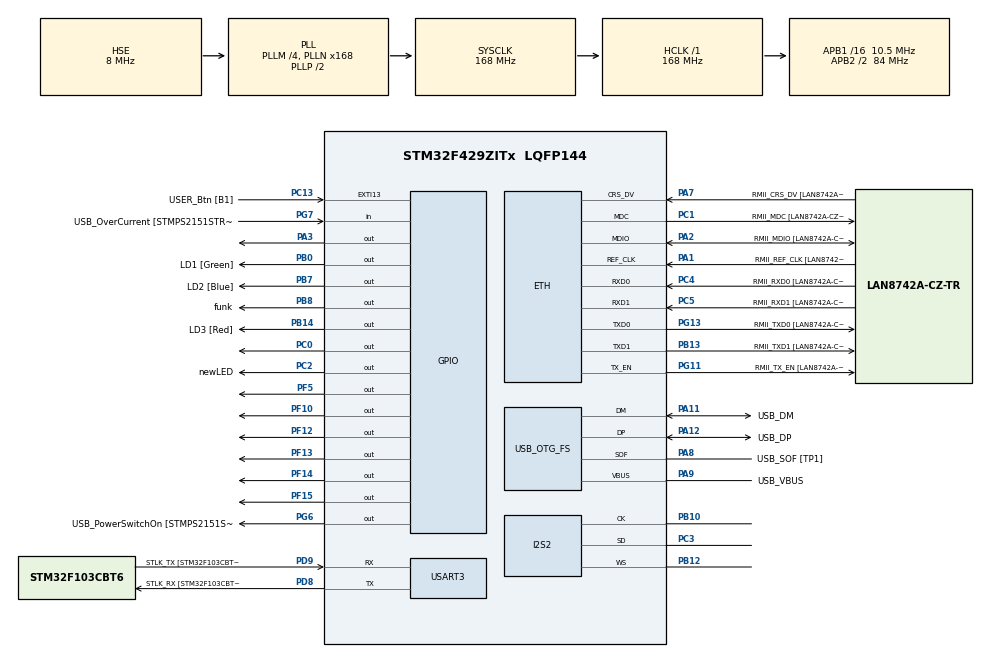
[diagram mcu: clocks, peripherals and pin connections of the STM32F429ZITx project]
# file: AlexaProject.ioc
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Dma.Request0=SPI2_RX
Dma.SPI2_RX.0.Direction=DMA_PERIPH_TO_MEMORY
Dma.SPI2_RX.0.FIFOMode=DMA_FIFOMODE_DISABLE
Dma.SPI2_RX.0.Instance=DMA1_Stream3
Dma.SPI2_RX.0.MemDataAlignment=DMA_MDATAALIGN_HALFWORD
Dma.SPI2_RX.0.MemInc=DMA_MINC_ENABLE
Dma.SPI2_RX.0.Mode=DMA_CIRCULAR
Dma.SPI2_RX.0.PeriphDataAlignment=DMA_PDATAALIGN_HALFWORD
Dma.SPI2_RX.0.PeriphInc=DMA_PINC_DISABLE
Dma.SPI2_RX.0.Priority=DMA_PRIORITY_HIGH
ETH.MediaInterface=HAL_ETH_RMII_MODE
ETH.PHY_Name=LAN8742A_PHY_ADDRESS
ETH.PHY_Value=0
ETH.PhyAddress=0
I2S2.AudioFreq=I2S_AUDIOFREQ_16K
I2S2.DataFormat=I2S_DATAFORMAT_24B
I2S2.ErrorAudioFreq=-0.26 %
I2S2.FullDuplexMode=I2S_FULLDUPLEXMODE_DISABLE
I2S2.Instance=SPI$Index
I2S2.Mode=I2S_MODE_MASTER_RX
I2S2.RealAudioFreq=15.957 KHz
I2S2.VirtualMode=I2S_MODE_MASTER
Mcu.Family=STM32F4
Mcu.Name=STM32F429ZITx
Mcu.Package=LQFP144
NVIC.DMA1_Stream3_IRQn=true\:0\:0\:false\:false\:true\:false\:true\:true
NVIC.PriorityGroup=NVIC_PRIORITYGROUP_4
PA1.GPIO_Label=RMII_REF_CLK [LAN8742A-CZ-TR_REFCLK0]
PA1.Mode=RMII
PA1.Signal=ETH_REF_CLK
PA10.GPIO_Label=USB_ID
PA10.Signal=USB_OTG_FS_ID
PA11.GPIO_Label=USB_DM
PA11.Mode=Device_Only
PA11.Signal=USB_OTG_FS_DM
PA12.GPIO_Label=USB_DP
PA12.Mode=Device_Only
PA12.Signal=USB_OTG_FS_DP
PA13.GPIO_Label=TMS
PA13.Mode=Serial_Wire
PA13.Signal=SYS_JTMS-SWDIO
PA14.GPIO_Label=TCK
PA14.Mode=Serial_Wire
PA14.Signal=SYS_JTCK-SWCLK
PA2.GPIO_Label=RMII_MDIO [LAN8742A-CZ-TR_MDIO]
PA2.Mode=RMII
PA2.Signal=ETH_MDIO
PA3.Signal=GPIO_Output
PA7.GPIO_Label=RMII_CRS_DV [LAN8742A-CZ-TR_CRS_DV]
PA7.Mode=RMII
PA7.Signal=ETH_CRS_DV
PA8.GPIO_Label=USB_SOF [TP1]
PA8.Mode=Activate_SOF_FS
PA8.Signal=USB_OTG_FS_SOF
PA9.GPIO_Label=USB_VBUS
PA9.Mode=Activate_VBUS
PA9.Signal=USB_OTG_FS_VBUS
PB0.GPIO_Label=LD1 [Green]
PB0.Signal=GPIO_Output
PB10.Mode=Half_Duplex_Master
PB10.Signal=I2S2_CK
PB12.Mode=Half_Duplex_Master
PB12.Signal=I2S2_WS
PB13.GPIO_Label=RMII_TXD1 [LAN8742A-CZ-TR_TXD1]
PB13.Mode=RMII
PB13.Signal=ETH_TXD1
PB14.GPIO_Label=LD3 [Red]
PB14.Signal=GPIO_Output
PB7.GPIO_Label=LD2 [Blue]
PB7.Signal=GPIO_Output
PB8.GPIO_Label=funk
PB8.Signal=GPIO_Output
PC0.Signal=GPIO_Output
PC1.GPIO_Label=RMII_MDC [LAN8742A-CZ-TR_MDC]
PC1.Mode=RMII
PC1.Signal=ETH_MDC
PC13.GPIO_Label=USER_Btn [B1]
PC13.Signal=GPXTI13
PC14/OSC32_IN.Mode=LSE-External-Oscillator
PC14/OSC32_IN.Signal=RCC_OSC32_IN
PC15/OSC32_OUT.Mode=LSE-External-Oscillator
PC15/OSC32_OUT.Signal=RCC_OSC32_OUT
PC2.GPIO_Label=newLED
PC2.Signal=GPIO_Output
PC3.Mode=Half_Duplex_Master
PC3.Signal=I2S2_SD
PC4.GPIO_Label=RMII_RXD0 [LAN8742A-CZ-TR_RXD0]
PC4.Mode=RMII
PC4.Signal=ETH_RXD0
PC5.GPIO_Label=RMII_RXD1 [LAN8742A-CZ-TR_RXD1]
PC5.Mode=RMII
PC5.Signal=ETH_RXD1
PD8.GPIO_Label=STLK_RX [STM32F103CBT6_PA3]
PD8.Mode=Asynchronous
PD8.Signal=USART3_TX
PD9.GPIO_Label=STLK_TX [STM32F103CBT6_PA2]
PD9.Mode=Asynchronous
PD9.Signal=USART3_RX
PF10.Signal=GPIO_Output
PF12.Signal=GPIO_Output
PF13.Signal=GPIO_Output
PF14.Signal=GPIO_Output
PF15.Signal=GPIO_Output
PF5.Signal=GPIO_Output
PG11.GPIO_Label=RMII_TX_EN [LAN8742A-CZ-TR_TXEN]
PG11.Mode=RMII
PG11.Signal=ETH_TX_EN
PG13.GPIO_Label=RMII_TXD0 [LAN8742A-CZ-TR_TXD0]
PG13.Mode=RMII
PG13.Signal=ETH_TXD0
PG6.GPIO_Label=USB_PowerSwitchOn [STMPS2151STR_EN]
PG6.Signal=GPIO_Output
PG7.GPIO_Label=USB_OverCurrent [STMPS2151STR_FAULT]
PG7.Signal=GPIO_Input
PH0/OSC_IN.GPIO_Label=MCO [STM32F103CBT6_PA8]
PH0/OSC_IN.Mode=HSE-External-Clock-Source
PH0/OSC_IN.Signal=RCC_OSC_IN
PH1/OSC_OUT.Mode=HSE-External-Clock-Source
PH1/OSC_OUT.Signal=RCC_OSC_OUT
ProjectManager.HeapSize=0x800
ProjectManager.StackSize=0x800
ProjectManager.TargetToolchain=STM32CubeIDE
RCC.48MHZClocksFreq_Value=48000000
RCC.AHBFreq_Value=168000000
RCC.APB1CLKDivider=RCC_HCLK_DIV16
RCC.APB1Freq_Value=10500000
RCC.APB1TimFreq_Value=21000000
RCC.APB2CLKDivider=RCC_HCLK_DIV2
RCC.APB2Freq_Value=84000000
RCC.APB2TimCLKDivider=2
RCC.APB2TimFreq_Value=168000000
RCC.CortexFreq_Value=168000000
RCC.HCLKFreq_Value=168000000
RCC.HSE_VALUE=8000000
RCC.HSI_VALUE=16000000
RCC.PLLM=4
RCC.PLLMUL=RCC_PLL_MUL9
RCC.PLLN=168
RCC.PLLQ=7
RCC.PRESCALERUSB=RCC_USBCLKSOURCE_PLL_DIV1_5
RCC.SYSCLKFreq_VALUE=168000000
RCC.SYSCLKSource=RCC_SYSCLKSOURCE_PLLCLK
RCC.SYSCLKSourceVirtual=RCC_SYSCLKSOURCE_PLLCLK
RCC.USBFreq_Value=48000000
RCC.VCOOutputFreq_Value=336000000
STMicroelectronics.X-CUBE-AI.7.2.0.ActivationBufferSizeList=24748
STMicroelectronics.X-CUBE-AI.7.2.0.ActivationBuffers=pool0
STMicroelectronics.X-CUBE-AI.7.2.0.ActivationNames=pool0
STMicroelectronics.X-CUBE-AI.7.2.0.ActivationSizes=AI_NETWORK_DATA_ACTIVATION_1_SIZE
STMicroelectronics.X-CUBE-AI.7.2.0.HeapSize=0x800
STMicroelectronics.X-CUBE-AI.7.2.0.InternalRamActivationBufferMaxSize=AI_NETWORK_DATA_ACTIVATIONS_SIZE
STMicroelectronics.X-CUBE-AI.7.2.0.LatestDirectoryUsed-281b799384163966d8b97d2bb4d714199611b414a7336a01834ed85148bf27c6=C\:\\Users\\MARIAM\\Downloads
STMicroelectronics.X-CUBE-AI.7.2.0.MaximumNumberOfInputLayer=1
STMicroelectronics.X-CUBE-AI.7.2.0.MaximumNumberOfOutputLayer=1
STMicroelectronics.X-CUBE-AI.7.2.0.MaximumSizeOfInputLayer=1
STMicroelectronics.X-CUBE-AI.7.2.0.MaximumSizeOfOutputLayer=1
STMicroelectronics.X-CUBE-AI.7.2.0.ModelActualCompression-281b799384163966d8b97d2bb4d714199611b414a7336a01834ed85148bf27c6=0.0
STMicroelectronics.X-CUBE-AI.7.2.0.ModelCompression-281b799384163966d8b97d2bb4d714199611b414a7336a01834ed85148bf27c6=None
STMicroelectronics.X-CUBE-AI.7.2.0.ModelFlashOccupation-281b799384163966d8b97d2bb4d714199611b414a7336a01834ed85148bf27c6=40172
STMicroelectronics.X-CUBE-AI.7.2.0.ModelHashList=281b799384163966d8b97d2bb4d714199611b414a7336a01834ed85148bf27c6
STMicroelectronics.X-CUBE-AI.7.2.0.ModelKind-281b799384163966d8b97d2bb4d714199611b414a7336a01834ed85148bf27c6=TFLITE
STMicroelectronics.X-CUBE-AI.7.2.0.ModelMacc-281b799384163966d8b97d2bb4d714199611b414a7336a01834ed85148bf27c6=251990
STMicroelectronics.X-CUBE-AI.7.2.0.ModelName-281b799384163966d8b97d2bb4d714199611b414a7336a01834ed85148bf27c6=network
STMicroelectronics.X-CUBE-AI.7.2.0.ModelNameList=network
STMicroelectronics.X-CUBE-AI.7.2.0.ModelRamOccupation-281b799384163966d8b97d2bb4d714199611b414a7336a01834ed85148bf27c6=24748
STMicroelectronics.X-CUBE-AI.7.2.0.ModelStructureFile-281b799384163966d8b97d2bb4d714199611b414a7336a01834ed85148bf27c6=C\:\\Users\\MARIAM\\Downloads\\kws_model.tflite
STMicroelectronics.X-CUBE-AI.7.2.0.ModelType-281b799384163966d8b97d2bb4d714199611b414a7336a01834ed85148bf27c6=STM32Cube.AI runtime
STMicroelectronics.X-CUBE-AI.7.2.0.ReadyForCodeGeneration=true
STMicroelectronics.X-CUBE-AI.7.2.0.StackSize=0x800
STMicroelectronics.X-CUBE-AI.7.2.0.WorkingBufferStartAddrList=0xFFFFFFFF
STMicroelectronics.X-CUBE-AI.7.2.0.XAaCUBEAaAICcArtificialOoIntelligenceJjCore=true
TIM4.ClockDivision=TIM_CLOCKDIVISION_DIV1
TIM4.Period=800
TIM4.Prescaler=20
USART3.VirtualMode=VM_ASYNC
USB_OTG_FS.VirtualMode=Device_Only
VP_CRC_VS_CRC.Mode=CRC_Activate
VP_STMicroelectronics.X-CUBE-AI_VS_ArtificialOoIntelligenceJjXAaCUBEAaAI_7.2.0.Mode=ArtificialOoIntelligenceJjXAaCUBEAaAI
VP_TIM4_VS_ClockSourceINT.Mode=Internal
board=NUCLEO-F429ZI

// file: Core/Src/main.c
/* USER CODE BEGIN Header */
/**
  ******************************************************************************
  * @file           : main.c
  * @brief          : Main program body
  ******************************************************************************
  * @attention
  *
  * Copyright (c) 2025 STMicroelectronics.
  * All rights reserved.
  *
  * This software is licensed under terms that can be found in the LICENSE file
  * in the root directory of this software component.
  * If no LICENSE file comes with this software, it is provided AS-IS.
  *
  ******************************************************************************
  */
/* USER CODE END Header */
#include "main.h"
#include "string.h"

/* USER CODE BEGIN Includes */
#include <stdint.h>
#include <stdbool.h>
#include <stdio.h>
#include "funk.h"
#include "mikro.h"

/* USER CODE END Includes */

ETH_TxPacketConfig TxConfig;
ETH_DMADescTypeDef  DMARxDscrTab[ETH_RX_DESC_CNT]; /* Ethernet Rx DMA Descriptors */
ETH_DMADescTypeDef  DMATxDscrTab[ETH_TX_DESC_CNT]; /* Ethernet Tx DMA Descriptors */

CRC_HandleTypeDef hcrc;

ETH_HandleTypeDef heth;

I2S_HandleTypeDef hi2s2;
DMA_HandleTypeDef hdma_spi2_rx;

TIM_HandleTypeDef htim4;

UART_HandleTypeDef huart3;

PCD_HandleTypeDef hpcd_USB_OTG_FS;

/* USER CODE BEGIN PV */

// 1 second of audio at 16 kHz = 16000 final samples
//constexpr uint32_t PCM_SAMPLES_PER_SEC = 16000;
volatile bool recording_finished = false;
TIM_HandleTypeDef* TIMER = &htim4;
UART_HandleTypeDef* display =  &huart3;
I2S_HandleTypeDef* mikro = &hi2s2;

extern int timer;

// declare pins
typedef struct {
	GPIO_TypeDef* port;
	uint16_t pin;
	uint8_t state;
} Segment_t;

// assign segments to pins
Segment_t segments[10] = {
		{GPIOA, GPIO_PIN_3, 0}, //A0 - A
		{GPIOC, GPIO_PIN_0, 0}, //A1 - B
		{GPIOC, GPIO_PIN_2, 0}, //A2 - C -> A7
		{GPIOF, GPIO_PIN_3, 0}, //A3 - D
		{GPIOF, GPIO_PIN_5, 0}, //A4 - E
		{GPIOF, GPIO_PIN_10, 0}, //A5 - F
		{GPIOF, GPIO_PIN_15, 0}, //D2 - G
		{GPIOF, GPIO_PIN_14, 0}, //D4 - H
		{GPIOF, GPIO_PIN_13, 0}, //D7 - I
		{GPIOF, GPIO_PIN_12, 0}, //D8 - J
};

/* USER CODE END PV */

void SystemClock_Config(void);
static void MX_GPIO_Init(void);
static void MX_DMA_Init(void);
static void MX_ETH_Init(void);
static void MX_USART3_UART_Init(void);
static void MX_USB_OTG_FS_PCD_Init(void);
static void MX_TIM4_Init(void);
static void MX_I2S2_Init(void);
static void MX_CRC_Init(void);
/* USER CODE BEGIN PFP */

// declare light functions
//void gradualLightUp(void);
void gradualLightDown(void);
void gradualLightUp();
void turnOffAllSegments(void);

/* USER CODE END PFP */

int main(void)
{

  /* MCU Configuration--------------------------------------------------------*/

  /* Reset of all peripherals, Initializes the Flash interface and the Systick. */
  HAL_Init();

  /* Configure the system clock */
  SystemClock_Config();

  /* Initialize all configured peripherals */
  MX_GPIO_Init();
  MX_DMA_Init();
  MX_ETH_Init();
  MX_USART3_UART_Init();
  MX_USB_OTG_FS_PCD_Init();
  MX_TIM4_Init();
  MX_I2S2_Init();
  MX_CRC_Init();
  /* USER CODE BEGIN 2 */

   //printf("recording finished\r\n");
   //HAL_I2S_Receive_DMA(&hi2s2, (uint16_t*)inputBuffer, I2S_DMA_BUF_SIZE);
   HAL(&hi2s2);

    sendSequence("111111000010");

    HAL_GPIO_WritePin(GPIOB, GPIO_PIN_14, GPIO_PIN_SET); // LED2 dauerhaft an
    HAL_Delay(5000);

    sendSequence("111111000001");
    HAL_GPIO_WritePin(GPIOB, GPIO_PIN_14, GPIO_PIN_RESET); // LED2 dauerhaft aus

    recording_finished = true;
    volatile bool stecker_an = false;
  /* USER CODE END 2 */

  /* Infinite loop */
  /* USER CODE BEGIN WHILE */
  while (1)
  {

	  if (recording_finished) {

	 		  //HAL_GPIO_WritePin(LD1_GPIO_Port, LD1_Pin, GPIO_PIN_SET);
	 		  //const char *message = "Recording Ended.\r\n";
	 		  // Ensure huart2 is available and transmit the message.

	 		  getSamples();
	 		 recording_finished = false;
	 	     }

  uint32_t volume = getCurrentVolume();
  int ledCount = (volume * 10) / 32768; // scale 0-10
		  if(ledCount > 10) {
			  ledCount = 10;
		  }
		  turnOffAllSegments();
  for(int i = 0; i < 10; i++) {
	  if(i < ledCount) {
		  HAL_GPIO_WritePin(segments[i].port, segments[i].pin, GPIO_PIN_SET);
	  } else {
		  HAL_GPIO_WritePin(segments[i].port, segments[i].pin, GPIO_PIN_RESET);
	  }
  }

  HAL_Delay(50);

  //LED_ansteuern(ledCount);
}
}
/*
		 gradualLightUp(10);
		 HAL_Delay(1000);
		 gradualLightDown();
		 HAL_Delay(1000);
		 */

    /* USER CODE END WHILE */

}

void SystemClock_Config(void)
{
  RCC_OscInitTypeDef RCC_OscInitStruct = {0};
  RCC_ClkInitTypeDef RCC_ClkInitStruct = {0};

  /** Configure the main internal regulator output voltage
  */
  __HAL_RCC_PWR_CLK_ENABLE();
  __HAL_PWR_VOLTAGESCALING_CONFIG(PWR_REGULATOR_VOLTAGE_SCALE1);

  /** Initializes the RCC Oscillators according to the specified parameters
  * in the RCC_OscInitTypeDef structure.
  */
  RCC_OscInitStruct.OscillatorType = RCC_OSCILLATORTYPE_HSE;
  RCC_OscInitStruct.HSEState = RCC_HSE_BYPASS;
  RCC_OscInitStruct.PLL.PLLState = RCC_PLL_ON;
  RCC_OscInitStruct.PLL.PLLSource = RCC_PLLSOURCE_HSE;
  RCC_OscInitStruct.PLL.PLLM = 4;
  RCC_OscInitStruct.PLL.PLLN = 168;
  RCC_OscInitStruct.PLL.PLLP = RCC_PLLP_DIV2;
  RCC_OscInitStruct.PLL.PLLQ = 7;
  if (HAL_RCC_OscConfig(&RCC_OscInitStruct) != HAL_OK)
  {
    Error_Handler();
  }

  /** Initializes the CPU, AHB and APB buses clocks
  */
  RCC_ClkInitStruct.ClockType = RCC_CLOCKTYPE_HCLK|RCC_CLOCKTYPE_SYSCLK
                              |RCC_CLOCKTYPE_PCLK1|RCC_CLOCKTYPE_PCLK2;
  RCC_ClkInitStruct.SYSCLKSource = RCC_SYSCLKSOURCE_PLLCLK;
  RCC_ClkInitStruct.AHBCLKDivider = RCC_SYSCLK_DIV1;
  RCC_ClkInitStruct.APB1CLKDivider = RCC_HCLK_DIV16;
  RCC_ClkInitStruct.APB2CLKDivider = RCC_HCLK_DIV2;

  if (HAL_RCC_ClockConfig(&RCC_ClkInitStruct, FLASH_LATENCY_5) != HAL_OK)
  {
    Error_Handler();
  }
}

static void MX_CRC_Init(void)
{

  hcrc.Instance = CRC;
  if (HAL_CRC_Init(&hcrc) != HAL_OK)
  {
    Error_Handler();
  }

}

static void MX_ETH_Init(void)
{

   static uint8_t MACAddr[6];

  heth.Instance = ETH;
  MACAddr[0] = 0x00;
  MACAddr[1] = 0x80;
  MACAddr[2] = 0xE1;
  MACAddr[3] = 0x00;
  MACAddr[4] = 0x00;
  MACAddr[5] = 0x00;
  heth.Init.MACAddr = &MACAddr[0];
  heth.Init.MediaInterface = HAL_ETH_RMII_MODE;
  heth.Init.TxDesc = DMATxDscrTab;
  heth.Init.RxDesc = DMARxDscrTab;
  heth.Init.RxBuffLen = 1524;

  if (HAL_ETH_Init(&heth) != HAL_OK)
  {
    Error_Handler();
  }

  memset(&TxConfig, 0 , sizeof(ETH_TxPacketConfig));
  TxConfig.Attributes = ETH_TX_PACKETS_FEATURES_CSUM | ETH_TX_PACKETS_FEATURES_CRCPAD;
  TxConfig.ChecksumCtrl = ETH_CHECKSUM_IPHDR_PAYLOAD_INSERT_PHDR_CALC;
  TxConfig.CRCPadCtrl = ETH_CRC_PAD_INSERT;

}

static void MX_I2S2_Init(void)
{

  hi2s2.Instance = SPI2;
  hi2s2.Init.Mode = I2S_MODE_MASTER_RX;
  hi2s2.Init.Standard = I2S_STANDARD_PHILIPS;
  hi2s2.Init.DataFormat = I2S_DATAFORMAT_24B;
  hi2s2.Init.MCLKOutput = I2S_MCLKOUTPUT_DISABLE;
  hi2s2.Init.AudioFreq = I2S_AUDIOFREQ_16K;
  hi2s2.Init.CPOL = I2S_CPOL_LOW;
  hi2s2.Init.ClockSource = I2S_CLOCK_PLL;
  hi2s2.Init.FullDuplexMode = I2S_FULLDUPLEXMODE_DISABLE;
  if (HAL_I2S_Init(&hi2s2) != HAL_OK)
  {
    Error_Handler();
  }

}

static void MX_TIM4_Init(void)
{

  TIM_ClockConfigTypeDef sClockSourceConfig = {0};
  TIM_MasterConfigTypeDef sMasterConfig = {0};

  htim4.Instance = TIM4;
  htim4.Init.Prescaler = 20;
  htim4.Init.CounterMode = TIM_COUNTERMODE_UP;
  htim4.Init.Period = 800;
  htim4.Init.ClockDivision = TIM_CLOCKDIVISION_DIV1;
  htim4.Init.AutoReloadPreload = TIM_AUTORELOAD_PRELOAD_DISABLE;
  if (HAL_TIM_Base_Init(&htim4) != HAL_OK)
  {
    Error_Handler();
  }
  sClockSourceConfig.ClockSource = TIM_CLOCKSOURCE_INTERNAL;
  if (HAL_TIM_ConfigClockSource(&htim4, &sClockSourceConfig) != HAL_OK)
  {
    Error_Handler();
  }
  sMasterConfig.MasterOutputTrigger = TIM_TRGO_RESET;
  sMasterConfig.MasterSlaveMode = TIM_MASTERSLAVEMODE_DISABLE;
  if (HAL_TIMEx_MasterConfigSynchronization(&htim4, &sMasterConfig) != HAL_OK)
  {
    Error_Handler();
  }

}

static void MX_USART3_UART_Init(void)
{

  huart3.Instance = USART3;
  huart3.Init.BaudRate = 115200;
  huart3.Init.WordLength = UART_WORDLENGTH_8B;
  huart3.Init.StopBits = UART_STOPBITS_1;
  huart3.Init.Parity = UART_PARITY_NONE;
  huart3.Init.Mode = UART_MODE_TX_RX;
  huart3.Init.HwFlowCtl = UART_HWCONTROL_NONE;
  huart3.Init.OverSampling = UART_OVERSAMPLING_16;
  if (HAL_UART_Init(&huart3) != HAL_OK)
  {
    Error_Handler();
  }

}

static void MX_USB_OTG_FS_PCD_Init(void)
{

  hpcd_USB_OTG_FS.Instance = USB_OTG_FS;
  hpcd_USB_OTG_FS.Init.dev_endpoints = 4;
  hpcd_USB_OTG_FS.Init.speed = PCD_SPEED_FULL;
  hpcd_USB_OTG_FS.Init.dma_enable = DISABLE;
  hpcd_USB_OTG_FS.Init.phy_itface = PCD_PHY_EMBEDDED;
  hpcd_USB_OTG_FS.Init.Sof_enable = ENABLE;
  hpcd_USB_OTG_FS.Init.low_power_enable = DISABLE;
  hpcd_USB_OTG_FS.Init.lpm_enable = DISABLE;
  hpcd_USB_OTG_FS.Init.vbus_sensing_enable = ENABLE;
  hpcd_USB_OTG_FS.Init.use_dedicated_ep1 = DISABLE;
  if (HAL_PCD_Init(&hpcd_USB_OTG_FS) != HAL_OK)
  {
    Error_Handler();
  }

}

static void MX_DMA_Init(void)
{

  /* DMA controller clock enable */
  __HAL_RCC_DMA1_CLK_ENABLE();

  /* DMA interrupt init */
  /* DMA1_Stream3_IRQn interrupt configuration */
  HAL_NVIC_SetPriority(DMA1_Stream3_IRQn, 0, 0);
  HAL_NVIC_EnableIRQ(DMA1_Stream3_IRQn);

}

static void MX_GPIO_Init(void)
{
  GPIO_InitTypeDef GPIO_InitStruct = {0};

  /* GPIO Ports Clock Enable */
  __HAL_RCC_GPIOC_CLK_ENABLE();
  __HAL_RCC_GPIOF_CLK_ENABLE();
  __HAL_RCC_GPIOH_CLK_ENABLE();
  __HAL_RCC_GPIOA_CLK_ENABLE();
  __HAL_RCC_GPIOB_CLK_ENABLE();
  __HAL_RCC_GPIOD_CLK_ENABLE();
  __HAL_RCC_GPIOG_CLK_ENABLE();

  /*Configure GPIO pin Output Level */
  HAL_GPIO_WritePin(GPIOF, GPIO_PIN_5|GPIO_PIN_10|GPIO_PIN_12|GPIO_PIN_13
                          |GPIO_PIN_14|GPIO_PIN_15, GPIO_PIN_RESET);

  /*Configure GPIO pin Output Level */
  HAL_GPIO_WritePin(GPIOC, GPIO_PIN_0|newLED_Pin, GPIO_PIN_RESET);

  /*Configure GPIO pin Output Level */
  HAL_GPIO_WritePin(GPIOA, GPIO_PIN_3, GPIO_PIN_RESET);

  /*Configure GPIO pin Output Level */
  HAL_GPIO_WritePin(GPIOB, LD1_Pin|LD3_Pin|LD2_Pin|funk_Pin, GPIO_PIN_RESET);

  /*Configure GPIO pin Output Level */
  HAL_GPIO_WritePin(USB_PowerSwitchOn_GPIO_Port, USB_PowerSwitchOn_Pin, GPIO_PIN_RESET);

  /*Configure GPIO pin : USER_Btn_Pin */
  GPIO_InitStruct.Pin = USER_Btn_Pin;
  GPIO_InitStruct.Mode = GPIO_MODE_IT_RISING;
  GPIO_InitStruct.Pull = GPIO_NOPULL;
  HAL_GPIO_Init(USER_Btn_GPIO_Port, &GPIO_InitStruct);

  /*Configure GPIO pins : PF5 PF10 PF12 PF13
                           PF14 PF15 */
  GPIO_InitStruct.Pin = GPIO_PIN_5|GPIO_PIN_10|GPIO_PIN_12|GPIO_PIN_13
                          |GPIO_PIN_14|GPIO_PIN_15;
  GPIO_InitStruct.Mode = GPIO_MODE_OUTPUT_PP;
  GPIO_InitStruct.Pull = GPIO_NOPULL;
  GPIO_InitStruct.Speed = GPIO_SPEED_FREQ_LOW;
  HAL_GPIO_Init(GPIOF, &GPIO_InitStruct);

  /*Configure GPIO pins : PC0 newLED_Pin */
  GPIO_InitStruct.Pin = GPIO_PIN_0|newLED_Pin;
  GPIO_InitStruct.Mode = GPIO_MODE_OUTPUT_PP;
  GPIO_InitStruct.Pull = GPIO_NOPULL;
  GPIO_InitStruct.Speed = GPIO_SPEED_FREQ_LOW;
  HAL_GPIO_Init(GPIOC, &GPIO_InitStruct);

  /*Configure GPIO pin : PA3 */
  GPIO_InitStruct.Pin = GPIO_PIN_3;
  GPIO_InitStruct.Mode = GPIO_MODE_OUTPUT_PP;
  GPIO_InitStruct.Pull = GPIO_NOPULL;
  GPIO_InitStruct.Speed = GPIO_SPEED_FREQ_LOW;
  HAL_GPIO_Init(GPIOA, &GPIO_InitStruct);

  /*Configure GPIO pins : LD1_Pin LD3_Pin LD2_Pin funk_Pin */
  GPIO_InitStruct.Pin = LD1_Pin|LD3_Pin|LD2_Pin|funk_Pin;
  GPIO_InitStruct.Mode = GPIO_MODE_OUTPUT_PP;
  GPIO_InitStruct.Pull = GPIO_NOPULL;
  GPIO_InitStruct.Speed = GPIO_SPEED_FREQ_LOW;
  HAL_GPIO_Init(GPIOB, &GPIO_InitStruct);

  /*Configure GPIO pin : USB_PowerSwitchOn_Pin */
  GPIO_InitStruct.Pin = USB_PowerSwitchOn_Pin;
  GPIO_InitStruct.Mode = GPIO_MODE_OUTPUT_PP;
  GPIO_InitStruct.Pull = GPIO_NOPULL;
  GPIO_InitStruct.Speed = GPIO_SPEED_FREQ_LOW;
  HAL_GPIO_Init(USB_PowerSwitchOn_GPIO_Port, &GPIO_InitStruct);

  /*Configure GPIO pin : USB_OverCurrent_Pin */
  GPIO_InitStruct.Pin = USB_OverCurrent_Pin;
  GPIO_InitStruct.Mode = GPIO_MODE_INPUT;
  GPIO_InitStruct.Pull = GPIO_NOPULL;
  HAL_GPIO_Init(USB_OverCurrent_GPIO_Port, &GPIO_InitStruct);

}

/* USER CODE BEGIN 4 */

// define light functions
void turnOffAllSegments() {
	for(int i = 0; i < 10; i++) {
		HAL_GPIO_WritePin(segments[i].port, segments[i].pin, GPIO_PIN_RESET);
	}
}

void gradualLightUp(int lights) {
		turnOffAllSegments();

		for(int i = 0; i < lights; i++) {
			HAL_GPIO_WritePin(segments[i].port, segments[i].pin, GPIO_PIN_SET);
			HAL_Delay(1000);
		}
	}

void gradualLightDown() {
		for(int i = 9; i >= 0; i--) {
			HAL_GPIO_WritePin(segments[i].port, segments[i].pin, GPIO_PIN_RESET);
			HAL_Delay(1000);
		}
	}

void LightUp(int lights) {
		turnOffAllSegments();

		for(int i = 0; i < lights; i++) {
			HAL_GPIO_WritePin(segments[i].port, segments[i].pin, GPIO_PIN_SET);
			//HAL_Delay(1);
		}

	}

uint32_t get_current_volume(void) {
    // Simple implementation - just returns a test value
    static uint32_t test_volume = 0;
    test_volume = (test_volume + 500) % 32768;
    return test_volume;
}

// Add DMA callbacks
void HAL_I2S_RxHalfCpltCallback(I2S_HandleTypeDef* hi2s2) {
	process_audio_buffer(0, hi2s2);
//\timer = HAL_GetTick() - timer;

}

void HAL_I2S_RxCpltCallback(I2S_HandleTypeDef* hi2s2) {
    process_audio_buffer(1000/2, hi2s2);
    recording_finished = true;
}

int __io_putchar(int ch)
{
    uint8_t c[1];
    c[0] = ch & 0x00FF;
    HAL_UART_Transmit(&huart3, &*c, 1, 10);
    return ch;
}
int _write(int file, char *ptr, int len)
{
int DataIdx;
for(DataIdx = 0; DataIdx < len; DataIdx++)
{
__io_putchar(*ptr++);
}
return len;
}

/* USER CODE END 4 */

void Error_Handler(void)
{
  __disable_irq();
  while (1)
  {
  }
}
